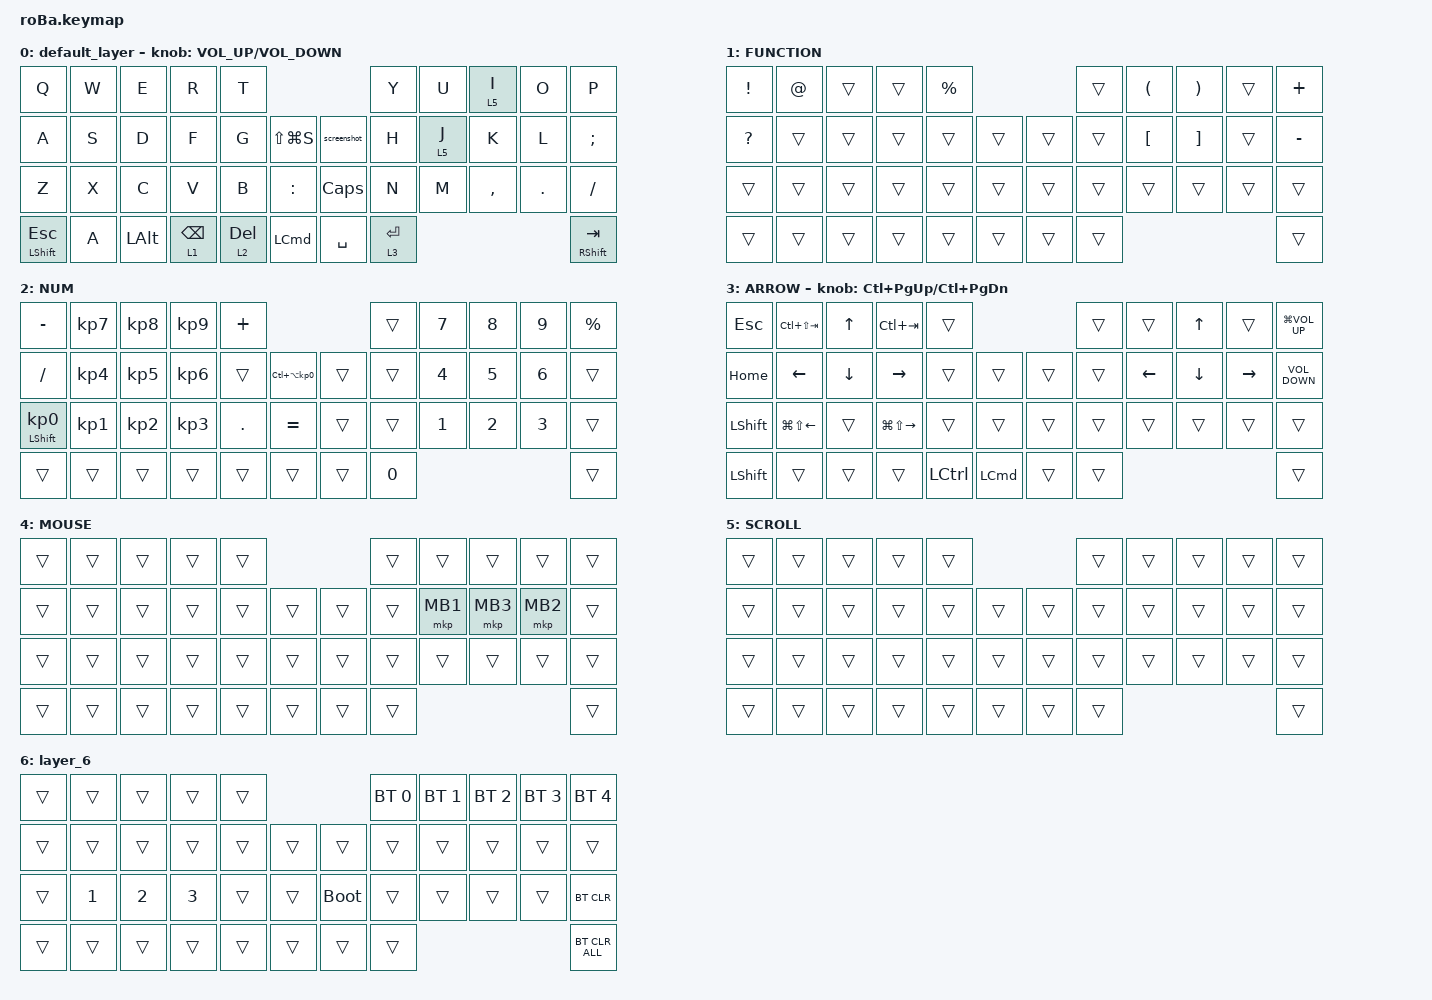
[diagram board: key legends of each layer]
#include <behaviors.dtsi>
#include <dt-bindings/zmk/bt.h>
#include <dt-bindings/zmk/keys.h>
#include <dt-bindings/zmk/mouse.h>

#define MOUSE 4
#define SCROLL 5
#define NUM 6

&mt {
    flavor = "balanced";
    quick-tap-ms = <0>;
};

/ {
    combos {
        compatible = "zmk,combos";

        tab {
            bindings = <&kp TAB>;
            key-positions = <11 12>;
        };

        shift_tab {
            bindings = <&kp LS(TAB)>;
            key-positions = <12 13>;
        };

        muhennkann {
            bindings = <&to_layer_0 INT_MUHENKAN>;
            key-positions = <11 10>;
        };

        double_quotation {
            bindings = <&kp DOUBLE_QUOTES>;
            key-positions = <20 21>;
        };

        eq {
            bindings = <&kp EQUAL>;
            key-positions = <24 25>;
        };

        LCLK {
            bindings = <&mkp MB1>;
            key-positions = <18 19>;
            timeout-ms = <0>;
        };

        RCLK {
            bindings = <&mkp RCLK>;
            key-positions = <20 21>;
        };
    };

    macros {
        to_layer_0: to_layer_0 {
            compatible = "zmk,behavior-macro-one-param";
            #binding-cells = <1>;
            bindings = <&to 0 &macro_param_1to1 &kp MACRO_PLACEHOLDER>;
            label = "TO_LAYER_0";
        };

        screenshot: volume {
            compatible = "zmk,behavior-macro";
            #binding-cells = <0>;
            bindings = <&kp RIGHT_SHIFT &kp RIGHT_COMMAND &kp NUMBER_4>;
            label = "VOLUME";
        };
    };

    behaviors {
        lt_to_layer_0: lt_to_layer_0 {
            compatible = "zmk,behavior-hold-tap";
            label = "LAYER_TAP_TO_0";
            bindings = <&mo>, <&to_layer_0>;

            #binding-cells = <2>;
            tapping-term-ms = <200>;
        };
    };

    keymap {
        compatible = "zmk,keymap";

        default_layer {
            bindings = <
&kp Q               &kp W  &kp E         &kp R                       &kp T                                       &kp Y        &kp U               &lt 5 I    &kp O    &kp P
&kp A               &kp S  &kp D         &kp F                       &kp G      &kp LS(LG(S))       &screenshot  &kp H        &lt_to_layer_0 5 J  &kp K      &kp L    &kp SEMICOLON
&kp Z               &kp X  &kp C         &kp V                       &kp B      &kp COLON           &kp CAPS     &kp N        &kp M               &kp COMMA  &kp DOT  &kp SLASH
&mt LEFT_SHIFT ESC  &kp A  &kp LEFT_ALT  &lt_to_layer_0 1 BACKSPACE  &lt 2 DEL  &kp LEFT_COMMAND    &kp SPACE    &lt 3 ENTER                                          &mt RIGHT_SHIFT TAB
            >;

            sensor-bindings = <&inc_dec_kp C_VOLUME_UP C_VOLUME_DOWN>;
        };

        FUNCTION {
            bindings = <
&kp EXCLAMATION  &kp AT_SIGN  &trans  &trans  &kp PERCENT                    &trans  &kp LEFT_PARENTHESIS  &kp RIGHT_PARENTHESIS  &trans  &kp PLUS
&kp QUESTION     &trans       &trans  &trans  &trans       &trans    &trans  &trans  &kp LEFT_BRACKET      &kp RIGHT_BRACKET      &trans  &kp MINUS
&trans           &trans       &trans  &trans  &trans       &trans    &trans  &trans  &trans                &trans                 &trans  &trans
&trans           &trans       &trans  &trans  &trans       &trans    &trans  &trans                                                       &trans
            >;
        };

        NUM {
            bindings = <
&kp MINUS                   &kp KP_NUMBER_7  &kp KP_NUMBER_8  &kp KP_NUMBER_9  &kp PLUS                                       &trans  &kp N7        &kp N8        &kp N9        &kp PERCENT
&kp SLASH                   &kp KP_NUMBER_4  &kp KP_NUMBER_5  &kp KP_NUMBER_6  &trans      &kp LC(LA(KP_NUMBER_0))    &trans  &trans  &kp NUMBER_4  &kp N5        &kp NUMBER_6  &trans
&mt LEFT_SHIFT KP_NUMBER_0  &kp KP_NUMBER_1  &kp KP_NUMBER_2  &kp KP_NUMBER_3  &kp PERIOD  &kp EQUAL                  &trans  &trans  &kp NUMBER_1  &kp NUMBER_2  &kp NUMBER_3  &trans
&trans                      &trans           &trans           &trans           &trans      &trans                     &trans  &kp N0                                            &trans
            >;
        };

        ARROW {
            bindings = <
&kp ESCAPE      &kp LC(LS(TAB))         &kp UP_ARROW    &kp LC(TAB)              &trans                                        &trans  &trans          &kp UP_ARROW    &trans           &kp LG(C_VOLUME_UP)
&kp HOME        &kp LEFT_ARROW          &kp DOWN_ARROW  &kp RIGHT_ARROW          &trans            &trans              &trans  &trans  &kp LEFT_ARROW  &kp DOWN_ARROW  &kp RIGHT_ARROW  &kp K_VOLUME_DOWN
&kp LEFT_SHIFT  &kp LG(LS(LEFT_ARROW))  &trans          &kp LG(LS(RIGHT_ARROW))  &trans            &trans              &trans  &trans  &trans          &trans          &trans           &trans
&kp LEFT_SHIFT  &trans                  &trans          &trans                   &kp LEFT_CONTROL  &kp LEFT_COMMAND    &trans  &trans                                                   &trans
            >;

            sensor-bindings = <&inc_dec_kp LC(PAGE_UP) LC(PAGE_DOWN)>;
        };

        MOUSE {
            bindings = <
&trans  &trans  &trans  &trans  &trans                    &trans  &trans    &trans    &trans    &trans
&trans  &trans  &trans  &trans  &trans  &trans    &trans  &trans  &mkp MB1  &mkp MB3  &mkp MB2  &trans
&trans  &trans  &trans  &trans  &trans  &trans    &trans  &trans  &trans    &trans    &trans    &trans
&trans  &trans  &trans  &trans  &trans  &trans    &trans  &trans                                &trans
            >;
        };

        SCROLL {
            bindings = <
&trans  &trans  &trans  &trans  &trans                    &trans  &trans  &trans  &trans  &trans
&trans  &trans  &trans  &trans  &trans  &trans    &trans  &trans  &trans  &trans  &trans  &trans
&trans  &trans  &trans  &trans  &trans  &trans    &trans  &trans  &trans  &trans  &trans  &trans
&trans  &trans  &trans  &trans  &trans  &trans    &trans  &trans                          &trans
            >;
        };

        layer_6 {
            bindings = <
&trans  &trans        &trans        &trans        &trans                         &bt BT_SEL 0  &bt BT_SEL 1  &bt BT_SEL 2  &bt BT_SEL 3  &bt BT_SEL 4
&trans  &trans        &trans        &trans        &trans  &trans    &trans       &trans        &trans        &trans        &trans        &trans
&trans  &kp NUMBER_1  &kp NUMBER_2  &kp NUMBER_3  &trans  &trans    &bootloader  &trans        &trans        &trans        &trans        &bt BT_CLR
&trans  &trans        &trans        &trans        &trans  &trans    &trans       &trans                                                  &bt BT_CLR_ALL
            >;
        };
    };
};
